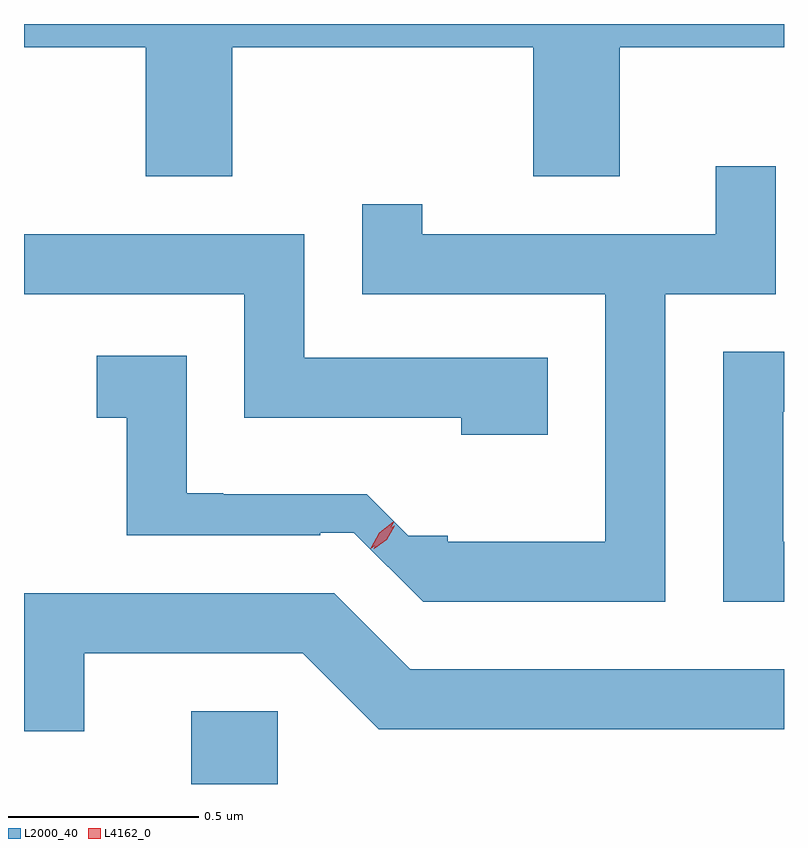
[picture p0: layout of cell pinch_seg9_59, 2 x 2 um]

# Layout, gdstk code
import gdstk
lib = gdstk.Library(unit=1e-6, precision=1e-09)
def R(c, l, rs):  # rectangles x0, y0, x1, y1
    for r in rs: c.add(gdstk.rectangle(r[:2], r[2:], *l))
def P(c, l, *ps):  # polygons
    for p in ps: c.add(gdstk.Polygon(p, *l))
L2000_40 = (2000, 40)
L4162_0 = (4162, 0)

pinch_seg9_59 = lib.new_cell('pinch_seg9_59')
R(pinch_seg9_59, L2000_40, [(948.731,1965.457,948.959,1965.649)])
P(pinch_seg9_59, L2000_40, [(948.839,1967.396),(949.631,1967.396),(949.631,1967.056),(949.859,1967.056),(949.859,1967.396),(950.291,1967.396),(950.291,1967.457),(948.291,1967.457),(948.291,1967.396),(948.611,1967.396),(948.611,1967.056),(948.839,1967.056)],
  [(949.979,1966.746),(950.269,1966.746),(950.269,1967.083),(950.111,1967.083),(950.111,1966.904),(949.339,1966.904),(949.339,1966.983),(949.181,1966.983),(949.181,1966.746),(949.821,1966.746),(949.821,1966.094),(949.406,1966.094),(949.406,1966.11),(949.302,1966.11),(949.193,1966.219),(948.815,1966.219),(948.815,1966.222),(948.719,1966.222),(948.719,1966.584),(948.483,1966.584),(948.483,1966.421),(948.561,1966.421),(948.561,1966.111),(949.07,1966.111),(949.07,1966.118),(949.159,1966.118),(949.341,1965.936),(949.979,1965.936)],
  [(949.669,1966.579),(949.029,1966.579),(949.029,1966.904),(948.291,1966.904),(948.291,1966.746),(948.871,1966.746),(948.871,1966.421),(949.441,1966.421),(949.441,1966.376),(949.669,1966.376)],
  [(950.291,1966.094),(950.289,1966.094),(950.289,1966.436),(950.291,1966.436),(950.291,1966.594),(950.131,1966.594),(950.131,1965.936),(950.291,1965.936)],
  [(948.449,1965.801),(949.024,1965.801),(949.224,1965.601),(950.291,1965.601),(950.291,1965.759),(949.307,1965.759),(949.107,1965.959),(948.291,1965.959),(948.291,1965.596),(948.449,1965.596)])
P(pinch_seg9_59, L4162_0, [(949.212,1966.076),(949.212,1966.076),(949.231,1966.113),(949.265,1966.137),(949.266,1966.137),(949.266,1966.136),(949.246,1966.1),(949.213,1966.076)],
  [(949.203,1966.076),(949.203,1966.077),(949.226,1966.118),(949.263,1966.147),(949.264,1966.147),(949.264,1966.146),(949.241,1966.105),(949.204,1966.076)])

lib.write_gds('pinch_seg9_59.gds')
